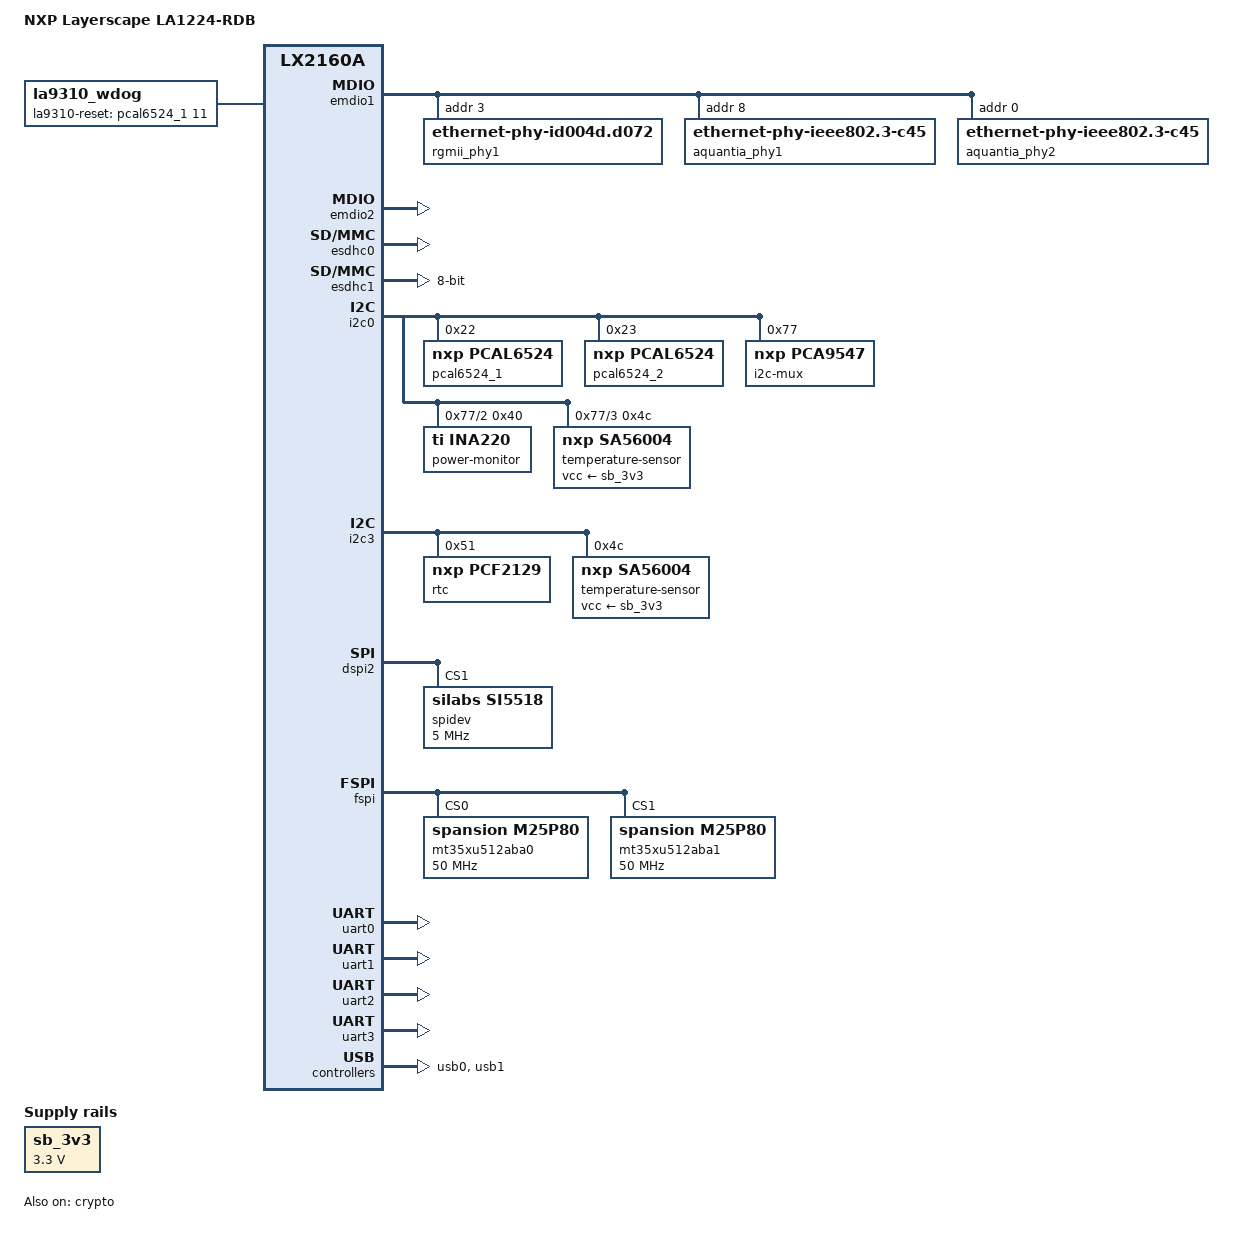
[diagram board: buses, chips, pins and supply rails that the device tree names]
// SPDX-License-Identifier: (GPL-2.0 OR MIT)
//
// Device Tree file for LA1224RDB Rev C board
//
// Copyright 2020-2022 NXP

/dts-v1/;

#include "fsl-lx2160a.dtsi"

/ {
	model = "NXP Layerscape LA1224-RDB";
	compatible = "nxp,la1224-rdb", "fsl,lx2160a";

	aliases {
		crypto = &crypto;
		serial0 = &uart0;
		serial1 = &uart1;
		serial2 = &uart2;
		serial3 = &uart3;
	};

	chosen {
		stdout-path = "serial0:115200n8";
	};

	sb_3v3: regulator-sb3v3 {
		compatible = "regulator-fixed";
		regulator-name = "MC34717-3.3VSB";
		regulator-min-microvolt = <3300000>;
		regulator-max-microvolt = <3300000>;
		regulator-boot-on;
		regulator-always-on;
	};


	modem0 {
		compatible = "geul_modem0";
		#address-cells = <1>;
		#size-cells = <0>;

		modem_wdog {
			compatible = "modem_wdog";
			reg = <0x0>;
			interrupt-cells = <3>;
			interrupts = <GIC_SPI 9 IRQ_TYPE_EDGE_RISING>;
			modem-reset-gpio = <&pcal6524_1 16 GPIO_ACTIVE_LOW>;
			status = "okay";
		};

		modem_hsdcs {
			compatible = "modem_hsdcs";
			reg = <0x0>;
			hsdcs-reset-gpio = <&gpio0 29 GPIO_ACTIVE_LOW>;
			status = "okay";
		};

		modem_rf {
			compatible = "modem_rf";
			yucca1-reset-gpio = <&gpio2 0 GPIO_ACTIVE_LOW>;
			yucca2-reset-gpio = <&gpio2 1 GPIO_ACTIVE_LOW>;
			yucca1-trx-gpio = <&gpio2 17 GPIO_ACTIVE_LOW>;
			yucca2-trx-gpio = <&gpio2 18 GPIO_ACTIVE_LOW>;
			yucca-trx-gpio = <&gpio3 8 GPIO_ACTIVE_LOW>;
		};

		modem_tti {
			compatible = "modem_tti1";
			reg = <0x0>;
			interrupt-cells = <3>;
			interrupts = <GIC_SPI 1 IRQ_TYPE_EDGE_RISING>,
				     <GIC_SPI 8 IRQ_TYPE_EDGE_RISING>,
				     <GIC_SPI 0 IRQ_TYPE_EDGE_RISING>;
			status = "okay";
		};
	};

	modem1 {
		compatible = "geul_modem1";
		#address-cells = <1>;
		#size-cells = <0>;

		modem_wdog {
			compatible = "modem_wdog";
			reg = <0x0>;
			interrupt-cells = <3>;
			interrupts = <GIC_SPI 5 IRQ_TYPE_EDGE_RISING>;
			modem-reset-gpio = <&pcal6524_1 14 GPIO_ACTIVE_LOW>;
			status = "okay";
		};

		modem_hsdcs {
			compatible = "modem_hsdcs";
			reg = <0x0>;
			hsdcs-reset-gpio = <&gpio0 29 GPIO_ACTIVE_LOW>;
			status = "okay";
		};

		modem_rf {
			compatible = "modem_rf";
			yucca1-reset-gpio = <&gpio2 0 GPIO_ACTIVE_LOW>;
			yucca2-reset-gpio = <&gpio2 1 GPIO_ACTIVE_LOW>;
			yucca1-trx-gpio = <&gpio2 17 GPIO_ACTIVE_LOW>;
			yucca2-trx-gpio = <&gpio2 18 GPIO_ACTIVE_LOW>;
			yucca-trx-gpio = <&gpio3 8 GPIO_ACTIVE_LOW>;
		};

		modem_tti {
			compatible = "modem_tti1";
			reg = <0x0>;
			interrupt-cells = <3>;
			interrupts = <GIC_SPI 10 IRQ_TYPE_EDGE_RISING>,
				     <GIC_SPI 11 IRQ_TYPE_EDGE_RISING>;
			status = "okay";
		};
	};

        la9310_wdog: la9310_wdog@0 {
                compatible = "la9310_wdog";
                la9310-reset-gpio = <&pcal6524_1 11 GPIO_ACTIVE_HIGH>;
        };

	soc {
		ptp-timer@8b95000 {
			clocks = <&clockgen 0x04 0x01>;
			compatible = "fsl,dpaa2-ptp";
			fsl,cksel = <0x00>;
			fsl,extts-fifo;
			fsl,max-adj = <0x3b9ac9ff>;
			fsl,tclk-period = <0x10>;
			fsl,tmr-add = <0x80000000>;
			fsl,tmr-fiper1 = <0x3b9ac9f0>;
			fsl,tmr-fiper2 = <0x3b9ac9f0>;
			fsl,tmr-fiper3 = <0x3b9ac9f0>;
			fsl,tmr-prsc = <0x2>;
			little-endian;
			reg = <0x00 0x8b95000 0x00 0x100>;
		};

	};
};

&crypto {
	status = "okay";
};

&emdio1 {
	status = "okay";
};

&emdio2 {
	status = "okay";
};

&esdhc0 {
	sd-uhs-sdr104;
	sd-uhs-sdr50;
	sd-uhs-sdr25;
	sd-uhs-sdr12;
	status = "okay";
};

&esdhc1 {
	mmc-hs200-1_8v;
	mmc-hs400-1_8v;
	bus-width = <8>;
	status = "okay";
};

&i2c0 {
	status = "okay";

	/*
	 * TBD
	 * Default state (input/output, high/low) of all below GPIOs
	 * should be re-visited once this information is available from
	 * hardware team.
	 */
	pcal6524_1: pcal6524@22 {

		compatible = "nxp,pcal6524";
		reg = <0x22>;
		gpio-controller;
		#gpio-cells = <2>;

		P00 {
			gpio-hog;
			gpios = <0 GPIO_ACTIVE_HIGH>;
			input;
			line-name = "SW_RCW_SRC3";
		};

		P01 {
			gpio-hog;
			gpios = <1 GPIO_ACTIVE_HIGH>;
			input;
			line-name = "SW_RCW_SRC2";
		};

		P02 {
			gpio-hog;
			gpios = <2 GPIO_ACTIVE_HIGH>;
			input;
			line-name = "SW_RCW_SRC1";
		};

		P03 {
			gpio-hog;
			gpios = <3 GPIO_ACTIVE_HIGH>;
			input;
			line-name = "SW_RCW_SRC0";
		};

		P04 {
			gpio-hog;
			gpios = <4 GPIO_ACTIVE_HIGH>;
			input;
			line-name = "CFG_XSPI_MAP0";
		};

		P05 {
			gpio-hog;
			gpios = <5 GPIO_ACTIVE_HIGH>;
			input;
			line-name = "SD1_CLKF_SEL";
		};

		P10 {
			gpio-hog;
			gpios = <8 GPIO_ACTIVE_LOW>;
			output-low;
			line-name = "I2C_RST_PHY1_10GE_B";
		};

		P11 {
			gpio-hog;
			gpios = <9 GPIO_ACTIVE_LOW>;
			output-low;
			line-name = "I2C_RST_PHY2_10GE_B";
		};

		P14 {
			gpio-hog;
			gpios = <12 GPIO_ACTIVE_LOW>;
			output-low;
			line-name = "I2C_EPHY1_RST_B";
		};

		P15 {
			gpio-hog;
			gpios = <13 GPIO_ACTIVE_LOW>;
			output-low;
			line-name = "I2C_LEA_6T_RST_B";
		};


		P17 {
			gpio-hog;
			gpios = <15 GPIO_ACTIVE_LOW>;
			output-low;
			line-name = "SW_LA1224_BLOCK_PORST_B";
		};

		P21 {
			gpio-hog;
			gpios = <17 GPIO_ACTIVE_HIGH>;
			input;
			line-name = "SI5518_INT_B";
		};

		P22 {
			gpio-hog;
			gpios = <18 GPIO_ACTIVE_HIGH>;
			output-high;
			line-name = "LX2_UART_EN";
		};

		P23 {
			gpio-hog;
			gpios = <19 GPIO_ACTIVE_HIGH>;
			input;
			line-name = "MDM_BRD_GPIO_04";
		};

		P24 {
			gpio-hog;
			gpios = <20 GPIO_ACTIVE_HIGH>;
			input;
			line-name = "MODEM_JTAG_MUX";
		};

		P25 {
			gpio-hog;
			gpios = <21 GPIO_ACTIVE_HIGH>;
			input;
			line-name = "RQ_RTC_B";
		};

		P26 {
			gpio-hog;
			gpios = <22 GPIO_ACTIVE_HIGH>;
			input;
			line-name = "BOARD_REVISION_0";
		};

		P27 {
			gpio-hog;
			gpios = <23 GPIO_ACTIVE_HIGH>;
			input;
			line-name = "BOARD_REVISION_1";
		};
	};

	pcal6524_2: pcal6524@23 {

		compatible = "nxp,pcal6524";
		reg = <0x23>;
		gpio-controller;
		#gpio-cells = <2>;

		P00 {
			gpio-hog;
			gpios = <0 GPIO_ACTIVE_HIGH>;
			input;
			line-name = "SFP_MOD_ABS";
		};

		P01 {
			gpio-hog;
			gpios = <1 GPIO_ACTIVE_HIGH>;
			input;
			line-name = "SFP_TX_FAULT";
		};

		P02 {
			gpio-hog;
			gpios = <2 GPIO_ACTIVE_HIGH>;
			input;
			line-name = "SFP_RX_LOS";
		};

		P03 {
			gpio-hog;
			gpios = <3 GPIO_ACTIVE_LOW>;
			output-high;
			line-name = "SFP_TX_EN";
		};

		P04 {
			gpio-hog;
			gpios = <4 GPIO_ACTIVE_HIGH>;
			output-low;
			line-name = "PCIE1_WIGIG_EN";
		};

		P05 {
			gpio-hog;
			gpios = <5 GPIO_ACTIVE_HIGH>;
			output-low;
			line-name = "PCIE1_WDISABLE_B";
		};

		P06 {
			gpio-hog;
			gpios = <6 GPIO_ACTIVE_HIGH>;
			output-low;
			line-name = "PCIE2_WIGIG_EN";
		};

		P07 {
			gpio-hog;
			gpios = <7 GPIO_ACTIVE_HIGH>;
			output-low;
			line-name = "PCIE2_WDISABLE_B";
		};

		P10 {
			gpio-hog;
			gpios = <8 GPIO_ACTIVE_HIGH>;
			output-low;
			line-name = "BUFF_M2_PWR_EN";
		};

		P11 {
			gpio-hog;
			gpios = <9 GPIO_ACTIVE_HIGH>;
			input;
			line-name = "MODEMBRD_THERMSHUT_B";
		};

		P12 {
			gpio-hog;
			gpios = <10 GPIO_ACTIVE_HIGH>;
			input;
			line-name = "SW_RST_SI5518_B";
		};

		P13 {
			gpio-hog;
			gpios = <11 GPIO_ACTIVE_HIGH>;
			output-high;
			line-name = "CPU_FR1_PWR_EN";
		};

		P14 {
			gpio-hog;
			gpios = <12 GPIO_ACTIVE_HIGH>;
			output-low;
			line-name = "PROG_SFP_EN";
		};

		P15 {
			gpio-hog;
			gpios = <13 GPIO_ACTIVE_HIGH>;
			output-low;
			line-name = "LED_PASS";
		};

		P16 {
			gpio-hog;
			gpios = <14 GPIO_ACTIVE_HIGH>;
			output-low;
			line-name = "LED_FAIL";
		};

		P17 {
			gpio-hog;
			gpios = <15 GPIO_ACTIVE_HIGH>;
			output-high;
			line-name = "SD_CARD_PWR_CNTL";
		};

		P20 {
			gpio-hog;
			gpios = <16 GPIO_ACTIVE_HIGH>;
			input;
			line-name = "PMIC_INT_B";
		};

		P21 {
			gpio-hog;
			gpios = <17 GPIO_ACTIVE_HIGH>;
			input; // spread is off (default)
			line-name = "CFG_SPREAD_EN";
		};

		P22 {
			gpio-hog;
			gpios = <18 GPIO_ACTIVE_HIGH>;
			output-high;
			line-name = "CPU_FR2_PWR_EN";
		};

		P23 {
			gpio-hog;
			gpios = <19 GPIO_ACTIVE_HIGH>;
			output-low;
			line-name = "SPI_MUX_SEL";
		};

		P24 {
			gpio-hog;
			gpios = <20 GPIO_ACTIVE_LOW>;
			output-low;
			line-name = "SPI_MUX_EN_B";
		};

		P25 {
			gpio-hog;
			gpios = <21 GPIO_ACTIVE_HIGH>;
			output-high;
			line-name = "CFG_MUX_1PPS_S0";
		};

		P26 {
			gpio-hog;
			gpios = <22 GPIO_ACTIVE_HIGH>;
			output-high;
			line-name = "CFG_MUX_1PPS_S1";
		};

		P27 {
			gpio-hog;
			gpios = <23 GPIO_ACTIVE_HIGH>;
			output-high;
			line-name = "CFG_MUX_1PPS_ATIME";
		};
	};

	i2c-mux@77 {
		compatible = "nxp,pca9547";
		reg = <0x77>;
		#address-cells = <1>;
		#size-cells = <0>;

		i2c@2 {
			#address-cells = <1>;
			#size-cells = <0>;
			reg = <0x2>;

			power-monitor@40 {
				compatible = "ti,ina220";
				reg = <0x40>;
				shunt-resistor = <500>;
			};
		};

		i2c@3 {
			#address-cells = <1>;
			#size-cells = <0>;
			reg = <0x3>;

			temperature-sensor@4c {
				compatible = "nxp,sa56004";
				reg = <0x4c>;
				vcc-supply = <&sb_3v3>;
			};
		};
	};
};

&i2c3 {
	status = "okay";

	rtc@51 {
		compatible = "nxp,pcf2129";
		reg = <0x51>;
		interrupts = <0 150 0x4>;
	};

	temperature-sensor@4c {
		compatible = "nxp,sa56004";
		reg = <0x4c>;
		vcc-supply = <&sb_3v3>;
	};
};

&dspi2 {
	status = "okay";
	spidev@1 {
		#address-cells = <1>;
		#size-cells = <1>;
		compatible = "silabs,si5518";
		reg = <1>; /* CS1 */
		spi-max-frequency = <5000000>;
	};
};

&fspi {
	status = "okay";

	mt35xu512aba0: flash@0 {
		#address-cells = <1>;
		#size-cells = <1>;
		compatible = "spansion,m25p80";
		m25p,fast-read;
		spi-max-frequency = <50000000>;
		reg = <0>;
		spi-rx-bus-width = <8>;
		spi-tx-bus-width = <8>;
	};

	mt35xu512aba1: flash@1 {
		#address-cells = <1>;
		#size-cells = <1>;
		compatible = "spansion,m25p80";
		m25p,fast-read;
		spi-max-frequency = <50000000>;
		reg = <1>;
		spi-rx-bus-width = <8>;
		spi-tx-bus-width = <8>;
	};
};

&uart0 {
	status = "okay";
};

&uart1 {
	status = "okay";
};

&uart2 {
	status = "okay";
};

&uart3 {
	status = "okay";
};

&usb0 {
	status = "okay";
};

&usb1 {
	status = "okay";
};

&emdio1 {
	rgmii_phy1: ethernet-phy@3 {
		/* AR8035 PHY - "compatible" property not strictly needed */
		compatible = "ethernet-phy-id004d.d072";
		reg = <0x3>;
		/* Poll mode - no "interrupts" property defined */
	};
	aquantia_phy1: ethernet-phy@8 {
		/* AQR113 PHY - "compatible" property not strictly needed */
		compatible = "ethernet-phy-ieee802.3-c45";
		interrupts = <GIC_SPI 2 IRQ_TYPE_LEVEL_HIGH>;
		reg = <0x8>;
	};
	aquantia_phy2: ethernet-phy@0 {
		/* AQR113 PHY - "compatible" property not strictly needed */
		compatible = "ethernet-phy-ieee802.3-c45";
		interrupts = <GIC_SPI 3 IRQ_TYPE_LEVEL_HIGH>;
		reg = <0x0>;
	};
};

&dpmac3 {
	phy-handle = <&aquantia_phy1>;
	phy-connection-type = "usxgmii";
};

&dpmac4 {
	phy-handle = <&aquantia_phy2>;
	phy-connection-type = "usxgmii";
};

&dpmac17 {
	phy-handle = <&rgmii_phy1>;
	phy-connection-type = "rgmii-id";
};
